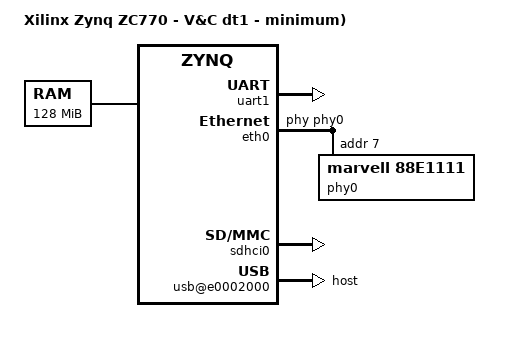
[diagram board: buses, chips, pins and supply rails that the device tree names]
/*
 *  Copyright (C) 2011 Xilinx
 *
 * This software is licensed under the terms of the GNU General Public
 * License version 2, as published by the Free Software Foundation, and
 * may be copied, distributed, and modified under those terms.
 *
 * This program is distributed in the hope that it will be useful,
 * but WITHOUT ANY WARRANTY; without even the implied warranty of
 * MERCHANTABILITY or FITNESS FOR A PARTICULAR PURPOSE.  See the
 * GNU General Public License for more details.
 */

/dts-v1/;

/ {
	model = "Xilinx Zynq ZC770 - V&C dt1 - minimum)";
	compatible = "xlnx,zynq-zc770";
	#address-cells = <1>;
	#size-cells = <1>;
	interrupt-parent = <&intc>;

	memory {
		device_type = "memory";
		reg = <0x0 0x8000000>;
   	};

	chosen {
		bootargs = "console=ttyPS0,115200 console=tty0 root=/dev/ram rw initrd=0x800000,8M earlyprintk ip=:::::eth0:dhcp";
		linux,stdout-path = "/amba@0/uart@E0001000";
	};

	amba: amba@0 {
		compatible = "simple-bus";
		#address-cells = <1>;
		#size-cells = <1>;
		ranges;

		intc: intc@f8f01000 {
			interrupt-controller;
			compatible = "arm,gic";
			reg = <0xF8F01000 0x1000>;
			#interrupt-cells = <2>;
		};

		uart1: uart@e0001000 {
			compatible = "xlnx,ps7-uart-1.00.a";
			reg = <0xE0001000 0x1000>;
			interrupts = <82 0>;
			clock = <15870000>;
		};	

		timer0: timer@0xf8001000 {
			compatible = "xlnx,ps7-ttc-1.00.a";
			reg = <0xF8001000 0x1000>;
			interrupts = <42 0>;
/*			clock-frequency = <36110750>; */
			clock-frequency-timer0 = <72220000>;
			clock-frequency-timer1 = <72220000>;
			clock-frequency-timer2 = <72220000>;
		};

		eth0: eth@e000b000 {
			compatible = "xlnx,ps7-ethernet-1.00.a";
			reg = <0xE000B000 0x1000>;
			interrupts = <54 0>;
			phy-handle = <&phy0>;
			xlnx,ptp-enet-clock = <133000000>;
			xlnx,slcr-div0-1000Mbps = <8>;
			xlnx,slcr-div0-100Mbps = <8>;
			xlnx,slcr-div0-10Mbps = <8>;
			xlnx,slcr-div1-1000Mbps = <1>;
			xlnx,slcr-div1-100Mbps = <5>;
			xlnx,slcr-div1-10Mbps = <50>;
			#address-cells = <1>;
			#size-cells = <0>;
			phy0: phy@23 {
				compatible = "marvell,88e1111";
				device_type = "ethernet-phy";
				reg = <7>;
				marvell,reg-init=<2 21 0 0x20>;
			} ;
		};
		sdhci0: sdhci@e0100000 {
			compatible = "generic-sdhci";
			reg = <0xE0100000 0x1000>;
			interrupts = <56 0>;
		};

		usb@e0002000 {
			compatible = "xlnx,ps7-usb-1.00.a";
			reg = <0xe0002000 0x1000>;
			interrupts = <53 0>;
			dr_mode = "host";
			phy_type = "ulpi";
		};
		gpio0: gpio@e000a000 {
			compatible = "xlnx,ps7-gpio-1.00.a";
			reg = <0xE000A000 0x1000>;
			interrupts = <52 0>;
		};

/*
		logicvc_0: logicvc@40030000 {
			compatible = "xylon,logicvc-1.06.c";

			device-id = < 0 >;

			video-memory = < 0x0f000000 0x0fffffff >;
			reg = < 0x40030000 0xffff >;
			row-stride = < 2048 >;
			layers = < 5 >;
			use-background = < 1 >;
			readable-regs = < 1 >;
			use-size-position = < 1 >;
			display-type-no = < 7 >;

			layer_0: layer@0 {
				data-width = < 24 > ;
				alpha-mode = < 0 > ;
				offset = < 0 >;
				buffer-offset = < 1080 >;
			};
			layer_1: layer@1 {
				data-width = < 24 > ;
				alpha-mode = < 0 > ;
				offset = < 6480 >;
				buffer-offset = < 1080 >;
			};
			layer_2: layer@2 {
				data-width = < 24 > ;
				alpha-mode = < 0 > ;
				offset = < 12690 >;
				buffer-offset = < 1080 >;
			};
			layer_3: layer@3 {
				data-width = < 24 > ;
				alpha-mode = < 0 > ;
				offset = < 19440 >;
				buffer-offset = < 1080 >;
			};	
		};
*/

/*

		logibitblt_0: logibitblt@40040000 {
			compatible = "xylon,logibitblt-3.00.a";

			reg = < 0x40040000 0xffff >;
			video-memory = < 0x0f000000 0x00ffffff >;

			use-move-neg = < 1 >;
			use-expand = < 1 >;
			use-patt-fill = < 1 >;
			use-rle = < 1 >;
			use-porter-duff = < 1 >;
			use-aa-font-expand = < 1 >;
			use-global-alpha = < 1 >;
		};		
*/
	};
};
